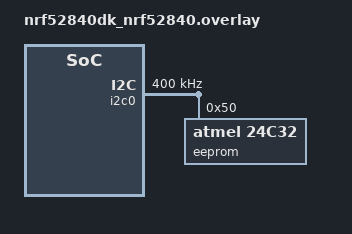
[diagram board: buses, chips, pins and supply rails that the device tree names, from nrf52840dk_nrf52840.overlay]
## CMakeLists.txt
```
cmake_minimum_required(VERSION 3.20.0)
find_package(Zephyr REQUIRED HINTS $ENV{ZEPHYR_BASE})

project(EEPROM_i2c)

target_sources(app PRIVATE src/main.c)
```

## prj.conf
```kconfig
CONFIG_PRINTK=y
CONFIG_EEPROM=y
CONFIG_I2C=y
CONFIG_CBPRINTF_FP_SUPPORT=y
```

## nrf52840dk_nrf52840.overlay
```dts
// To get started, press Ctrl+Space to bring up the completion menu and view the available nodes.

// You can also use the buttons in the sidebar to perform actions on nodes.
// Actions currently available include:

// * Enabling / disabling the node
// * Adding the bus to a bus
// * Removing the node
// * Connecting ADC channels

// For more help, browse the DeviceTree documentation at https: //docs.zephyrproject.org/latest/guides/dts/index.html
// You can also visit the nRF DeviceTree extension documentation at https: //nrfconnect.github.io/vscode-nrf-connect/devicetree/nrfdevicetree.html
&i2c0 {
    status = "okay";
    compatible = "nordic,nrf-twim";
    // label = "I2C_0";
    pinctrl-0 = <&i2c0_default>;
    pinctrl-1 = <&i2c0_sleep>;
    pinctrl-names = "default", "sleep";
    clock-frequency = <I2C_BITRATE_FAST>;
    
    eeprom: eeprom@50 {
        compatible = "atmel,24c32";
        reg = <0x50>;
        // label = "eeprom";
        // pagesize = <32>;
    };
};

&i2c0_default {
    group1 {
        bias-pull-up;
    };
};
```

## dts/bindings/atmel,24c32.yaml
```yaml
description: |
    Atmel 24c32 EEPROM

compatible: "atmel,24c32"

include: i2c-device.yaml
```

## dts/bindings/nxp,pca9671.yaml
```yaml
description: |
    NXP Semiconductors PCA9671 IO Expander

compatible: "nxp,pca9671"

include: i2c-device.yaml
```

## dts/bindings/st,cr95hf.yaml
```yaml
description: |
    STMicroelectronics CR95HF NFC Initiator / HF Reader

compatible: "st,cr95hf"

include: spi-device.yaml
```

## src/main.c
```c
#include <zephyr/kernel.h>
#include <zephyr/kernel.h>
#include <zephyr/sys/printk.h>
#include <zephyr/drivers/eeprom.h>
#include <zephyr/device.h>
#include <zephyr/drivers/i2c.h>

const struct i2c_dt_spec dev = I2C_DT_SPEC_GET(DT_NODELABEL(eeprom));

int main()
{
        if (!device_is_ready(dev.bus))
        {
                printk("\nError: Device is not ready, check the driver initialization logs for errors.\n");
                return 0;
        }
        printk("Found EEPROM device\n");

        int ret;
        // char data[]="Hello";
        uint8_t data_to_write[3] = {0x00, 0x00 ,0x44};
        int data_length = sizeof(data_to_write);
        ret = i2c_reg_write_byte_dt(&dev, 0x0004, 0x34);
        if (ret != 0)
        {
                printk("Failed to write to I2C device address\n ");
        }
        printk("Write Succesfully\n");
        k_msleep(10);
        
        // uint8_t msg[] = {'h', 'e', 'l', 'l', 'o', '\0'};
        // ret = i2c_burst_write_dt(&dev,0x00,msg,sizeof(msg));
        // uint8_t data_to_c_write[3] = {0x00, 0x00, msg};
        // int data_c_length = sizeof(data_to_c_write);
        // ret = i2c_write_dt(&dev, data_to_c_write, data_c_length);
        // if (ret != 0)
        // {
        //         printk("Failed to write to I2C device address\n ");
        // }
        // printk("Write Succesfully w\n");
        // k_msleep(10);
        
        uint8_t data_to_r_write[2] = {0x00, 0x00};
        int data_r_length = sizeof(data_to_r_write);
        ret = i2c_write_dt(&dev, data_to_r_write, data_r_length);
        if (ret != 0)
        {
                printk("Failed to write to I2C device address\n ");
        }
        printk("Write Succesfully to r\n");
        k_msleep(10);
        uint8_t data_read[sizeof(data_to_write)];
        // int data_l = sizeof(data_read);
        i2c_reg_read_byte_dt(&dev,0x0004,data_read);
        // ret = i2c_read_dt(&dev,data_read, sizeof(data_read));
        if (ret != 0)
        {
                printk("Failed to read from I2C device address\n\r");
        }
        // data_read[sizeof(data_read) - 1] = '\0'; // Null-terminate the string
        printk("Read data: %x\n", *data_read);
        return 0;
}
```
